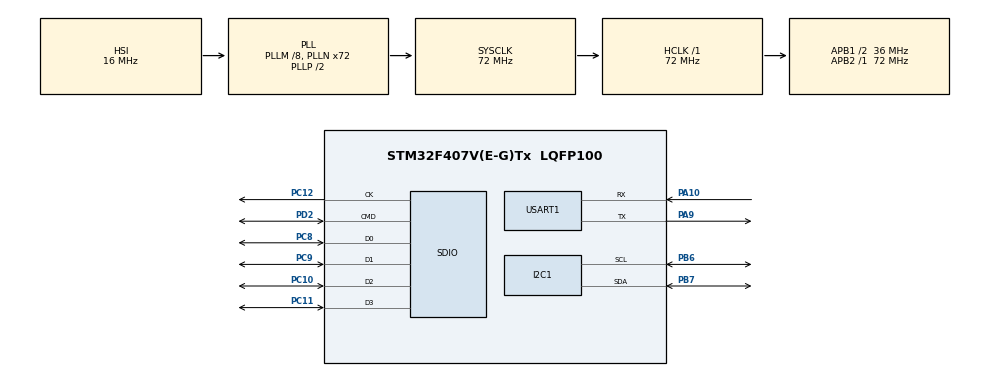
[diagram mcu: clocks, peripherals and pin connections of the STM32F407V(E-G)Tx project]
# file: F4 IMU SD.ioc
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Dma.Request0=SDIO_RX
Dma.Request1=SDIO_TX
Dma.SDIO_RX.0.Direction=DMA_PERIPH_TO_MEMORY
Dma.SDIO_RX.0.FIFOMode=DMA_FIFOMODE_ENABLE
Dma.SDIO_RX.0.FIFOThreshold=DMA_FIFO_THRESHOLD_FULL
Dma.SDIO_RX.0.Instance=DMA2_Stream3
Dma.SDIO_RX.0.MemBurst=DMA_MBURST_INC4
Dma.SDIO_RX.0.MemDataAlignment=DMA_MDATAALIGN_WORD
Dma.SDIO_RX.0.MemInc=DMA_MINC_ENABLE
Dma.SDIO_RX.0.Mode=DMA_PFCTRL
Dma.SDIO_RX.0.PeriphBurst=DMA_PBURST_INC4
Dma.SDIO_RX.0.PeriphDataAlignment=DMA_PDATAALIGN_WORD
Dma.SDIO_RX.0.PeriphInc=DMA_PINC_DISABLE
Dma.SDIO_RX.0.Priority=DMA_PRIORITY_LOW
Dma.SDIO_TX.1.Direction=DMA_MEMORY_TO_PERIPH
Dma.SDIO_TX.1.FIFOMode=DMA_FIFOMODE_ENABLE
Dma.SDIO_TX.1.FIFOThreshold=DMA_FIFO_THRESHOLD_FULL
Dma.SDIO_TX.1.Instance=DMA2_Stream6
Dma.SDIO_TX.1.MemBurst=DMA_MBURST_INC4
Dma.SDIO_TX.1.MemDataAlignment=DMA_MDATAALIGN_WORD
Dma.SDIO_TX.1.MemInc=DMA_MINC_ENABLE
Dma.SDIO_TX.1.Mode=DMA_PFCTRL
Dma.SDIO_TX.1.PeriphBurst=DMA_PBURST_INC4
Dma.SDIO_TX.1.PeriphDataAlignment=DMA_PDATAALIGN_WORD
Dma.SDIO_TX.1.PeriphInc=DMA_PINC_DISABLE
Dma.SDIO_TX.1.Priority=DMA_PRIORITY_LOW
FATFS._CODE_PAGE=950
FATFS._USE_LFN=2
FATFS._USE_STRFUNC=1
Mcu.Family=STM32F4
Mcu.Name=STM32F407V(E-G)Tx
Mcu.Package=LQFP100
NVIC.DMA2_Stream3_IRQn=true\:2\:0\:true\:false\:true\:false
NVIC.DMA2_Stream6_IRQn=true\:2\:0\:true\:false\:true\:false
NVIC.PriorityGroup=NVIC_PRIORITYGROUP_4
NVIC.SDIO_IRQn=true\:1\:0\:true\:false\:true\:true
NVIC.TIM1_UP_TIM10_IRQn=true\:3\:0\:true\:false\:true\:true
PA10.Mode=Asynchronous
PA10.Signal=USART1_RX
PA13.Mode=Serial_Wire
PA13.Signal=SYS_JTMS-SWDIO
PA14.Mode=Serial_Wire
PA14.Signal=SYS_JTCK-SWCLK
PA9.Mode=Asynchronous
PA9.Signal=USART1_TX
PB6.Mode=I2C
PB6.Signal=I2C1_SCL
PB7.Mode=I2C
PB7.Signal=I2C1_SDA
PC10.Mode=SD_4_bits_Wide_bus
PC10.Signal=SDIO_D2
PC11.Mode=SD_4_bits_Wide_bus
PC11.Signal=SDIO_D3
PC12.Mode=SD_4_bits_Wide_bus
PC12.Signal=SDIO_CK
PC8.Mode=SD_4_bits_Wide_bus
PC8.Signal=SDIO_D0
PC9.Mode=SD_4_bits_Wide_bus
PC9.Signal=SDIO_D1
PD2.Mode=SD_4_bits_Wide_bus
PD2.Signal=SDIO_CMD
PH0-OSC_IN.Mode=HSE-External-Oscillator
PH0-OSC_IN.Signal=RCC_OSC_IN
PH1-OSC_OUT.Mode=HSE-External-Oscillator
PH1-OSC_OUT.Signal=RCC_OSC_OUT
ProjectManager.HeapSize=0x200
ProjectManager.StackSize=0x400
ProjectManager.TargetToolchain=MDK-ARM V5
RCC.48MHZClocksFreq_Value=48000000
RCC.AHBFreq_Value=72000000
RCC.APB1CLKDivider=RCC_HCLK_DIV2
RCC.APB1Freq_Value=36000000
RCC.APB1TimFreq_Value=72000000
RCC.APB2Freq_Value=72000000
RCC.APB2TimFreq_Value=72000000
RCC.CortexFreq_Value=72000000
RCC.HCLKFreq_Value=72000000
RCC.HSE_VALUE=25000000
RCC.HSI_VALUE=16000000
RCC.LSE_VALUE=32768
RCC.PLLM=8
RCC.PLLN=72
RCC.PLLQ=3
RCC.SYSCLKFreq_VALUE=72000000
RCC.SYSCLKSource=RCC_SYSCLKSOURCE_PLLCLK
RCC.VCOOutputFreq_Value=144000000
TIM1.Period=15625
TIM1.Prescaler=71
USART1.VirtualMode=VM_ASYNC
VP_FATFS_VS_SDIO.Mode=SDIO
VP_TIM1_VS_ClockSourceINT.Mode=Internal
board=custom

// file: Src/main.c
/**
  ******************************************************************************
  * @file           : main.c
  * @brief          : Main program body
  ******************************************************************************
  * This notice applies to any and all portions of this file
  * that are not between comment pairs USER CODE BEGIN and
  * USER CODE END. Other portions of this file, whether
  * inserted by the user or by software development tools
  * are owned by their respective copyright owners.
  *
  * Copyright (c) 2018 STMicroelectronics International N.V.
  * All rights reserved.
  *
  * Redistribution and use in source and binary forms, with or without
  * modification, are permitted, provided that the following conditions are met:
  *
  * 1. Redistribution of source code must retain the above copyright notice,
  *    this list of conditions and the following disclaimer.
  * 2. Redistributions in binary form must reproduce the above copyright notice,
  *    this list of conditions and the following disclaimer in the documentation
  *    and/or other materials provided with the distribution.
  * 3. Neither the name of STMicroelectronics nor the names of other
  *    contributors to this software may be used to endorse or promote products
  *    derived from this software without specific written permission.
  * 4. This software, including modifications and/or derivative works of this
  *    software, must execute solely and exclusively on microcontroller or
  *    microprocessor devices manufactured by or for STMicroelectronics.
  * 5. Redistribution and use of this software other than as permitted under
  *    this license is void and will automatically terminate your rights under
  *    this license.
  *
  * THIS SOFTWARE IS PROVIDED BY STMICROELECTRONICS AND CONTRIBUTORS "AS IS"
  * AND ANY EXPRESS, IMPLIED OR STATUTORY WARRANTIES, INCLUDING, BUT NOT
  * LIMITED TO, THE IMPLIED WARRANTIES OF MERCHANTABILITY, FITNESS FOR A
  * PARTICULAR PURPOSE AND NON-INFRINGEMENT OF THIRD PARTY INTELLECTUAL PROPERTY
  * RIGHTS ARE DISCLAIMED TO THE FULLEST EXTENT PERMITTED BY LAW. IN NO EVENT
  * SHALL STMICROELECTRONICS OR CONTRIBUTORS BE LIABLE FOR ANY DIRECT, INDIRECT,
  * INCIDENTAL, SPECIAL, EXEMPLARY, OR CONSEQUENTIAL DAMAGES (INCLUDING, BUT NOT
  * LIMITED TO, PROCUREMENT OF SUBSTITUTE GOODS OR SERVICES; LOSS OF USE, DATA,
  * OR PROFITS; OR BUSINESS INTERRUPTION) HOWEVER CAUSED AND ON ANY THEORY OF
  * LIABILITY, WHETHER IN CONTRACT, STRICT LIABILITY, OR TORT (INCLUDING
  * NEGLIGENCE OR OTHERWISE) ARISING IN ANY WAY OUT OF THE USE OF THIS SOFTWARE,
  * EVEN IF ADVISED OF THE POSSIBILITY OF SUCH DAMAGE.
  *
  ******************************************************************************
  */
#include "main.h"
#include "stm32f4xx_hal.h"
#include "fatfs.h"

/* USER CODE BEGIN Includes */
#include "stdio.h"
#include "string.h"
/* USER CODE END Includes */

I2C_HandleTypeDef hi2c1;

SD_HandleTypeDef hsd;
DMA_HandleTypeDef hdma_sdio_rx;
DMA_HandleTypeDef hdma_sdio_tx;

TIM_HandleTypeDef htim1;

UART_HandleTypeDef huart1;

/* USER CODE BEGIN PV */
/* Private variables ---------------------------------------------------------*/
#define mpu9250Address	0xD0			//(0x68<<1|0)

uint8_t i2cBuf[8];
int16_t aX = 0, aY = 0, aZ = 0, gX = 0, gY = 0, gZ = 0;

FATFS fatfs;                 // Work area (file system object) for logical drive
FIL myfile;                  // file objects
uint32_t bytesread;                   /* File read counts */
char file_name[] = "IMU_Record";
char file_format[] = ".txt";
char* file_complete_name = "IMU_Record.txt";
int i=0;
/* USER CODE END PV */

void SystemClock_Config(void);
static void MX_GPIO_Init(void);
static void MX_DMA_Init(void);
static void MX_TIM1_Init(void);
static void MX_I2C1_Init(void);
static void MX_USART1_UART_Init(void);
static void MX_SDIO_SD_Init(void);

/* USER CODE BEGIN PFP */
/* Private function prototypes -----------------------------------------------*/
void MPU_Config();
void I2C_readData();
void HAL_TIM_PeriodElapsedCallback(TIM_HandleTypeDef *htim);
char* get_complete_file_name();
void create_txt_file();
void append_to_SD();
void SD_error(int);

/* USER CODE END PFP */

int main(void)
{

  /* MCU Configuration----------------------------------------------------------*/

  /* Reset of all peripherals, Initializes the Flash interface and the Systick. */
  HAL_Init();

  /* Configure the system clock */
  SystemClock_Config();

  /* Initialize all configured peripherals */
  MX_GPIO_Init();
  MX_DMA_Init();
  MX_TIM1_Init();
  MX_I2C1_Init();
  MX_USART1_UART_Init();
  MX_SDIO_SD_Init();
  MX_FATFS_Init();
  /* USER CODE BEGIN 2 */
	create_txt_file();
	MPU_Config();
	HAL_TIM_Base_Start_IT(&htim1);
  /* USER CODE END 2 */

  /* Infinite loop */
  while (1)
  {

  }

}

void SystemClock_Config(void)
{

  RCC_OscInitTypeDef RCC_OscInitStruct;
  RCC_ClkInitTypeDef RCC_ClkInitStruct;

    /**Configure the main internal regulator output voltage
    */
  __HAL_RCC_PWR_CLK_ENABLE();

  __HAL_PWR_VOLTAGESCALING_CONFIG(PWR_REGULATOR_VOLTAGE_SCALE1);

    /**Initializes the CPU, AHB and APB busses clocks
    */
  RCC_OscInitStruct.OscillatorType = RCC_OSCILLATORTYPE_HSI;
  RCC_OscInitStruct.HSIState = RCC_HSI_ON;
  RCC_OscInitStruct.HSICalibrationValue = 16;
  RCC_OscInitStruct.PLL.PLLState = RCC_PLL_ON;
  RCC_OscInitStruct.PLL.PLLSource = RCC_PLLSOURCE_HSI;
  RCC_OscInitStruct.PLL.PLLM = 8;
  RCC_OscInitStruct.PLL.PLLN = 72;
  RCC_OscInitStruct.PLL.PLLP = RCC_PLLP_DIV2;
  RCC_OscInitStruct.PLL.PLLQ = 3;
  if (HAL_RCC_OscConfig(&RCC_OscInitStruct) != HAL_OK)
  {
    _Error_Handler(__FILE__, __LINE__);
  }

    /**Initializes the CPU, AHB and APB busses clocks
    */
  RCC_ClkInitStruct.ClockType = RCC_CLOCKTYPE_HCLK|RCC_CLOCKTYPE_SYSCLK
                              |RCC_CLOCKTYPE_PCLK1|RCC_CLOCKTYPE_PCLK2;
  RCC_ClkInitStruct.SYSCLKSource = RCC_SYSCLKSOURCE_PLLCLK;
  RCC_ClkInitStruct.AHBCLKDivider = RCC_SYSCLK_DIV1;
  RCC_ClkInitStruct.APB1CLKDivider = RCC_HCLK_DIV2;
  RCC_ClkInitStruct.APB2CLKDivider = RCC_HCLK_DIV1;

  if (HAL_RCC_ClockConfig(&RCC_ClkInitStruct, FLASH_LATENCY_2) != HAL_OK)
  {
    _Error_Handler(__FILE__, __LINE__);
  }

    /**Configure the Systick interrupt time
    */
  HAL_SYSTICK_Config(HAL_RCC_GetHCLKFreq()/1000);

    /**Configure the Systick
    */
  HAL_SYSTICK_CLKSourceConfig(SYSTICK_CLKSOURCE_HCLK);

  /* SysTick_IRQn interrupt configuration */
  HAL_NVIC_SetPriority(SysTick_IRQn, 0, 0);
}

/* I2C1 init function */
static void MX_I2C1_Init(void)
{

  hi2c1.Instance = I2C1;
  hi2c1.Init.ClockSpeed = 100000;
  hi2c1.Init.DutyCycle = I2C_DUTYCYCLE_2;
  hi2c1.Init.OwnAddress1 = 0;
  hi2c1.Init.AddressingMode = I2C_ADDRESSINGMODE_7BIT;
  hi2c1.Init.DualAddressMode = I2C_DUALADDRESS_DISABLE;
  hi2c1.Init.OwnAddress2 = 0;
  hi2c1.Init.GeneralCallMode = I2C_GENERALCALL_DISABLE;
  hi2c1.Init.NoStretchMode = I2C_NOSTRETCH_DISABLE;
  if (HAL_I2C_Init(&hi2c1) != HAL_OK)
  {
    _Error_Handler(__FILE__, __LINE__);
  }

}

/* SDIO init function */
static void MX_SDIO_SD_Init(void)
{

  hsd.Instance = SDIO;
  hsd.Init.ClockEdge = SDIO_CLOCK_EDGE_RISING;
  hsd.Init.ClockBypass = SDIO_CLOCK_BYPASS_DISABLE;
  hsd.Init.ClockPowerSave = SDIO_CLOCK_POWER_SAVE_DISABLE;
  hsd.Init.BusWide = SDIO_BUS_WIDE_1B;
  hsd.Init.HardwareFlowControl = SDIO_HARDWARE_FLOW_CONTROL_DISABLE;
  hsd.Init.ClockDiv = 0;

}

/* TIM1 init function */
static void MX_TIM1_Init(void)
{

  TIM_ClockConfigTypeDef sClockSourceConfig;
  TIM_MasterConfigTypeDef sMasterConfig;

  htim1.Instance = TIM1;
  htim1.Init.Prescaler = 71;
  htim1.Init.CounterMode = TIM_COUNTERMODE_UP;
  htim1.Init.Period = 15625;
  htim1.Init.ClockDivision = TIM_CLOCKDIVISION_DIV1;
  htim1.Init.RepetitionCounter = 0;
  if (HAL_TIM_Base_Init(&htim1) != HAL_OK)
  {
    _Error_Handler(__FILE__, __LINE__);
  }

  sClockSourceConfig.ClockSource = TIM_CLOCKSOURCE_INTERNAL;
  if (HAL_TIM_ConfigClockSource(&htim1, &sClockSourceConfig) != HAL_OK)
  {
    _Error_Handler(__FILE__, __LINE__);
  }

  sMasterConfig.MasterOutputTrigger = TIM_TRGO_RESET;
  sMasterConfig.MasterSlaveMode = TIM_MASTERSLAVEMODE_DISABLE;
  if (HAL_TIMEx_MasterConfigSynchronization(&htim1, &sMasterConfig) != HAL_OK)
  {
    _Error_Handler(__FILE__, __LINE__);
  }

}

/* USART1 init function */
static void MX_USART1_UART_Init(void)
{

  huart1.Instance = USART1;
  huart1.Init.BaudRate = 115200;
  huart1.Init.WordLength = UART_WORDLENGTH_8B;
  huart1.Init.StopBits = UART_STOPBITS_1;
  huart1.Init.Parity = UART_PARITY_NONE;
  huart1.Init.Mode = UART_MODE_TX_RX;
  huart1.Init.HwFlowCtl = UART_HWCONTROL_NONE;
  huart1.Init.OverSampling = UART_OVERSAMPLING_16;
  if (HAL_UART_Init(&huart1) != HAL_OK)
  {
    _Error_Handler(__FILE__, __LINE__);
  }

}

static void MX_DMA_Init(void)
{
  /* DMA controller clock enable */
  __HAL_RCC_DMA2_CLK_ENABLE();

  /* DMA interrupt init */
  /* DMA2_Stream3_IRQn interrupt configuration */
  HAL_NVIC_SetPriority(DMA2_Stream3_IRQn, 2, 0);
  HAL_NVIC_EnableIRQ(DMA2_Stream3_IRQn);
  /* DMA2_Stream6_IRQn interrupt configuration */
  HAL_NVIC_SetPriority(DMA2_Stream6_IRQn, 2, 0);
  HAL_NVIC_EnableIRQ(DMA2_Stream6_IRQn);

}

/** Configure pins as
        * Analog
        * Input
        * Output
        * EVENT_OUT
        * EXTI
*/
static void MX_GPIO_Init(void)
{

  /* GPIO Ports Clock Enable */
  __HAL_RCC_GPIOH_CLK_ENABLE();
  __HAL_RCC_GPIOC_CLK_ENABLE();
  __HAL_RCC_GPIOA_CLK_ENABLE();
  __HAL_RCC_GPIOD_CLK_ENABLE();
  __HAL_RCC_GPIOB_CLK_ENABLE();

}

/* USER CODE BEGIN 4 */
int fputc(int ch,FILE *f){
    uint8_t temp[1]={ch};
    HAL_UART_Transmit(&huart1,temp,1,2);
		return ch;
}

void MPU_Config()
{
	i2cBuf[0] = 0x6B;			//PWR_MGMT_1
	i2cBuf[1] = 0x00;			//prevent sleep mode
	HAL_I2C_Master_Transmit(&hi2c1, mpu9250Address, i2cBuf, 2, 10);

	i2cBuf[0] = 0x1B;			//ACCEL_CONFIG
	i2cBuf[1] = 0x08;			//range: +-500 deg/sec
	HAL_I2C_Master_Transmit(&hi2c1, mpu9250Address, i2cBuf, 2, 10);

	i2cBuf[0] = 0x1C;			//ACCEL_CONFIG
	i2cBuf[1] = 0x00;			//range: +-2g
	HAL_I2C_Master_Transmit(&hi2c1, mpu9250Address, i2cBuf, 2, 10);
}

void HAL_TIM_PeriodElapsedCallback(TIM_HandleTypeDef *htim)
{
	if(htim->Instance == TIM1)
	{
		I2C_readData();
		append_to_SD();
	}

}

void I2C_readData()
{
	i2cBuf[0] = 0x3B; 		//read accelX request
	HAL_I2C_Master_Transmit(&hi2c1, mpu9250Address, i2cBuf, 1, 10);
	i2cBuf[1] = 0x00;
	HAL_I2C_Master_Receive(&hi2c1, mpu9250Address, &i2cBuf[1], 6, 10);
	aX = (i2cBuf[1]<<8 | i2cBuf[2]);
	aY = (i2cBuf[3]<<8 | i2cBuf[4]);
	aZ = (i2cBuf[5]<<8 | i2cBuf[6]);

	i2cBuf[0] = 0x43; 		//read gyroX request
	HAL_I2C_Master_Transmit(&hi2c1, mpu9250Address, i2cBuf, 1, 10);
	i2cBuf[1] = 0x00;
	HAL_I2C_Master_Receive(&hi2c1, mpu9250Address, &i2cBuf[1], 6, 10);
	gX = (i2cBuf[1]<<8 | i2cBuf[2]);
	gY = (i2cBuf[3]<<8 | i2cBuf[4]);
	gZ = (i2cBuf[5]<<8 | i2cBuf[6]);
	printf("%d \t%d \t%d \t%d \t%d \t%d\n", aX, aY, aZ, gX, gY, gZ);
}

void create_txt_file()
{
	FRESULT fresult;
	if(BSP_SD_Init() == MSD_OK)
	{
		if(f_mount(&fatfs,"",0) != FR_OK)
			SD_error(1);
		while((fresult = f_open(&myfile,file_complete_name,FA_CREATE_NEW|FA_WRITE)) == FR_EXIST)
			file_complete_name = get_complete_file_name();

		if(fresult != FR_OK)
			SD_error(2);

		if(f_printf(&myfile,"aX\taY\taZ\tgX\tgY\tgZ\n") < 0)
			SD_error(3);

		if(f_close(&myfile) != FR_OK)
			SD_error(4);

		/*
		uint8_t rx_data[50];
		if(f_open(&myfile,"sdio.txt",FA_READ) != FR_OK)
			SD_error(2);

		if(f_read(&myfile,rx_data,sizeof(rx_data),&bytesread) != FR_OK)
			SD_error(6);

		if(f_close(&myfile) != FR_OK)
			SD_error(4);

		printf("%s",rx_data);
		*/
	}
	else
		SD_error(0);
}

char* get_complete_file_name()
{
	char* name_with_format;
	name_with_format = malloc(strlen(file_name)+strlen(file_format)+2); /* make space for the new string (should check the return value ...) */
	strcpy(name_with_format, file_name); /* copy name into the new var */
	char index[10];
	sprintf(index,"%d",++i);
	strcat(name_with_format, index);
	strcat(name_with_format, file_format);
	return name_with_format;
}

void append_to_SD()
{

	if(f_open(&myfile,file_complete_name,FA_OPEN_ALWAYS|FA_WRITE) != FR_OK)
		SD_error(2);

	if(f_lseek(&myfile,f_size(&myfile)) != FR_OK)
		SD_error(5);

	if(f_printf(&myfile,"%d \t%d \t%d \t%d \t%d \t%d\n", aX, aY, aZ, gX, gY, gZ) < 0)
		SD_error(3);

	if(f_close(&myfile))
		SD_error(4);

}

void SD_error(int i)
{
	printf("SD Card error %d\n",i);
	while(1);
}
/* USER CODE END 4 */

void _Error_Handler(char *file, int line)
{
  while(1)
  {
  }
}

/************************ (C) COPYRIGHT STMicroelectronics *****END OF FILE****/
